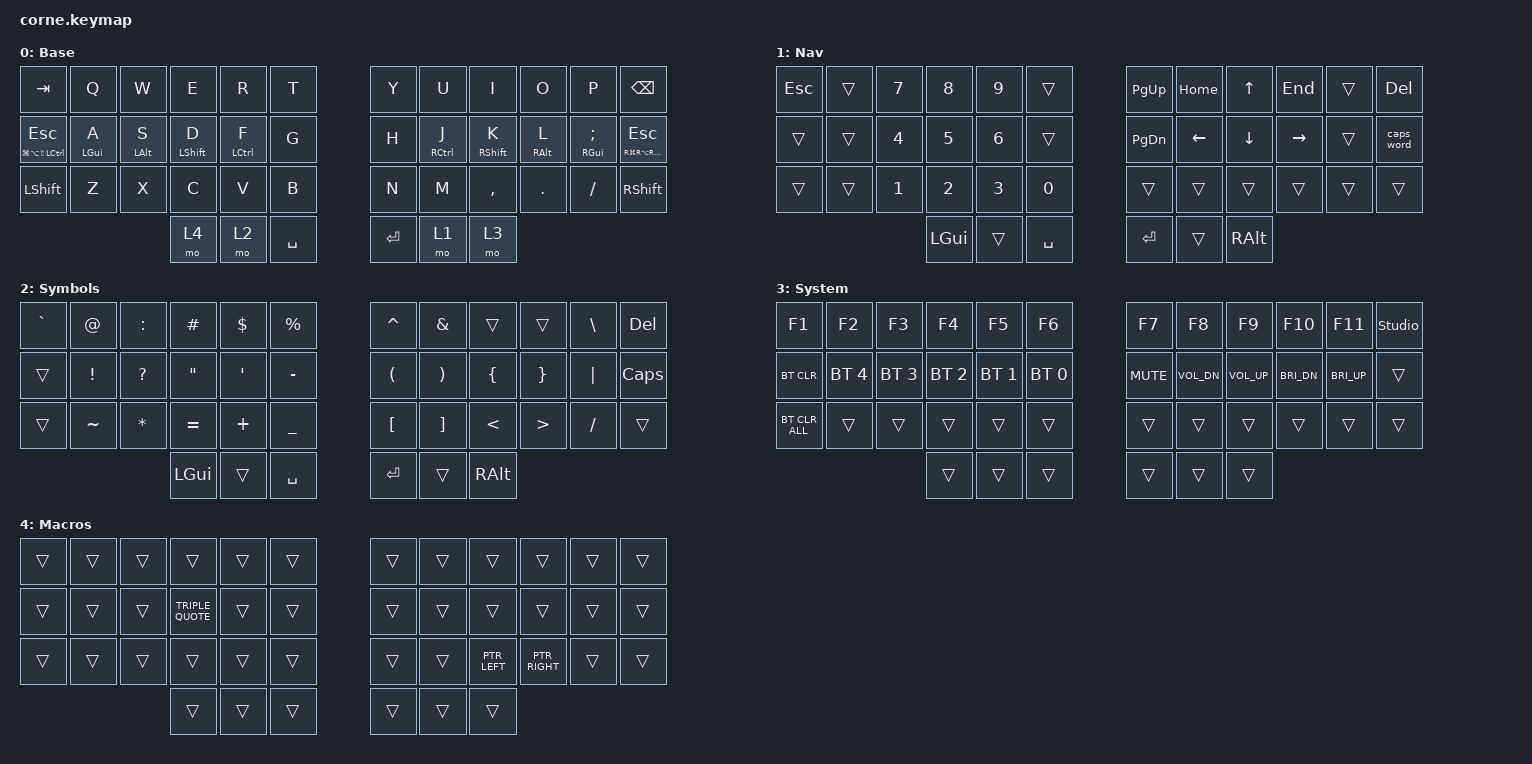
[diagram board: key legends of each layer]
/*
 * Copyright (c) 2020 The ZMK Contributors
 *
 * SPDX-License-Identifier: MIT
 */

#include <behaviors.dtsi>
#include <dt-bindings/zmk/bt.h>
#include <dt-bindings/zmk/keys.h>

/ {
    behaviors {
        studio_unlock: studio_unlock { compatible = "zmk,behavior-studio-unlock"; };

        hm: hm {
            compatible = "zmk,behavior-hold-tap";
            label = "HM";
            #binding-cells = <2>;
            flavor = "tap-preferred";
            tapping-term-ms = <200>;
            quick-tap-ms = <2>;
            bindings = <&kp>, <&kp>;
        };
    };

    combos {
        compatible = "zmk,combos";

        studio_unlock_combo {
            timeout-ms = <500>;
            key-positions = <17 18>;
            bindings = <&studio_unlock>;
        };
    };

    macros {
        PTR_RIGHT: PTR_RIGHT {
            compatible = "zmk,behavior-macro";
            #binding-cells = <0>;
            bindings = <&kp MINUS &kp GREATER_THAN>;
            label = "PTR_RIGHT";
        };

        PTR_LEFT: PTR_LEFT {
            compatible = "zmk,behavior-macro";
            #binding-cells = <0>;
            bindings = <&kp LESS_THAN &kp MINUS>;
            label = "PTR_LEFT";
        };

        TRIPLE_QUOTE: TRIPLE_QUOTE {
            compatible = "zmk,behavior-macro";
            #binding-cells = <0>;
            bindings = <&kp DOUBLE_QUOTES &kp DOUBLE_QUOTES &kp DOUBLE_QUOTES>;
            label = "TRIPLE_QUOTE";
        };
    };

    keymap {
        compatible = "zmk,keymap";

        Base {
            // -----------------------------------------------------------------------------------------
            // |  TAB |  Q  |  W  |  E  |  R  |  T  |   |  Y  |  U   |  I  |  O  |  P  | BSPC |
            // | CTRL |  A  |  S  |  D  |  F  |  G  |   |  H  |  J   |  K  |  L  |  ;  |  '   |
            // | SHFT |  Z  |  X  |  C  |  V  |  B  |   |  N  |  M   |  ,  |  .  |  /  | ESC  |
            //                    | GUI | LWR | SPC |   | ENT | RSE  | ALT |

            bindings = <
&kp TAB                       &kp Q           &kp W           &kp E             &kp R               &kp T        &kp Y    &kp U                &kp I              &kp O            &kp P               &kp BSPC
&mt LG(LA(LS(LCTRL))) ESCAPE  &hm LEFT_GUI A  &hm LEFT_ALT S  &hm LEFT_SHIFT D  &hm LEFT_CONTROL F  &kp G        &kp H    &hm RIGHT_CONTROL J  &hm RIGHT_SHIFT K  &hm RIGHT_ALT L  &hm RIGHT_GUI SEMI  &mt RG(RA(RS(RCTRL))) ESCAPE
&kp LSHFT                     &kp Z           &kp X           &kp C             &kp V               &kp B        &kp N    &kp M                &kp COMMA          &kp DOT          &kp FSLH            &kp RIGHT_SHIFT
                                                              &mo 4             &mo 2               &kp SPACE    &kp RET  &mo 1                &mo 3
            >;
        };

        Nav {
            // -----------------------------------------------------------------------------------------
            // |  TAB |  1  |  2  |  3  |  4  |  5  |   |  6  |  7  |  8  |  9  |  0  | BSPC |
            // | BTCLR| BT1 | BT2 | BT3 | BT4 | BT5 |   | LFT | DWN |  UP | RGT |     |      |
            // | SHFT |     |     |     |     |     |   |     |     |     |     |     |      |
            //                    | GUI |     | SPC |   | ENT |     | ALT |

            bindings = <
&kp ESC  &trans  &kp N7  &kp N8    &kp NUMBER_9  &trans       &kp PAGE_UP    &kp HOME        &kp UP_ARROW    &kp END          &trans  &kp DEL
&trans   &trans  &kp N4  &kp N5    &kp N6        &trans       &kp PAGE_DOWN  &kp LEFT_ARROW  &kp DOWN_ARROW  &kp RIGHT_ARROW  &trans  &caps_word
&trans   &trans  &kp N1  &kp N2    &kp N3        &kp N0       &trans         &trans          &trans          &trans           &trans  &trans
                         &kp LGUI  &trans        &kp SPACE    &kp RET        &trans          &kp RALT
            >;
        };

        Symbols {
            // -----------------------------------------------------------------------------------------
            // |  TAB |  !  |  @  |  #  |  $  |  %  |   |  ^  |  &  |  *  |  (  |  )  | BSPC |
            // | CTRL |     |     |     |     |     |   |  -  |  =  |  [  |  ]  |  \  |  `   |
            // | SHFT |     |     |     |     |     |   |  _  |  +  |  {  |  }  | "|" |  ~   |
            //                    | GUI |     | SPC |   | ENT |     | ALT |

            bindings = <
&kp GRAVE  &kp AT           &kp COLON     &kp HASH           &kp DLLR  &kp PRCNT         &kp CARET             &kp AMPERSAND          &trans          &trans            &kp BACKSLASH  &kp DEL
&trans     &kp EXCLAMATION  &kp QUESTION  &kp DOUBLE_QUOTES  &kp SQT   &kp MINUS         &kp LEFT_PARENTHESIS  &kp RIGHT_PARENTHESIS  &kp LEFT_BRACE  &kp RIGHT_BRACE   &kp PIPE       &kp CAPSLOCK
&trans     &kp TILDE        &kp ASTERISK  &kp EQUAL          &kp PLUS  &kp UNDERSCORE    &kp LEFT_BRACKET      &kp RIGHT_BRACKET      &kp LESS_THAN   &kp GREATER_THAN  &kp SLASH      &trans
                                          &kp LGUI           &trans    &kp SPACE         &kp RET               &trans                 &kp RALT
            >;
        };

        System {
            bindings = <
&kp F1          &kp F2        &kp F3        &kp F4        &kp F5        &kp F6          &kp F7      &kp F8        &kp F9        &kp F10       &kp F11       &studio_unlock
&bt BT_CLR      &bt BT_SEL 4  &bt BT_SEL 3  &bt BT_SEL 2  &bt BT_SEL 1  &bt BT_SEL 0    &kp C_MUTE  &kp C_VOL_DN  &kp C_VOL_UP  &kp C_BRI_DN  &kp C_BRI_UP  &trans
&bt BT_CLR_ALL  &trans        &trans        &trans        &trans        &trans          &trans      &trans        &trans        &trans        &trans        &trans
                                            &trans        &trans        &trans          &trans      &trans        &trans
            >;
        };

        Macros {
            bindings = <
&trans  &trans  &trans  &trans         &trans  &trans    &trans  &trans  &trans     &trans      &trans  &trans
&trans  &trans  &trans  &TRIPLE_QUOTE  &trans  &trans    &trans  &trans  &trans     &trans      &trans  &trans
&trans  &trans  &trans  &trans         &trans  &trans    &trans  &trans  &PTR_LEFT  &PTR_RIGHT  &trans  &trans
                        &trans         &trans  &trans    &trans  &trans  &trans
            >;
        };
    };
};
